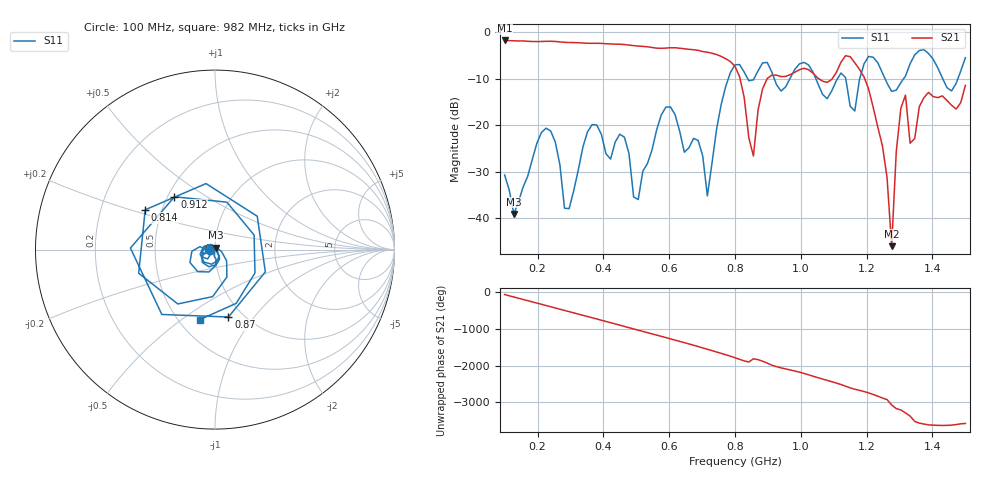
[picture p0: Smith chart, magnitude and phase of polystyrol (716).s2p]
! NanoVNA-App
! Date: 2025-09-25 15:35:27
! Start: 100MHz Stop: 1,5GHz Points: 101
! S-Parameter data: F S11 S21 S12 S22
# Hz S RI R 50
!  Frequency  S11_Real  S11_Imag  S21_Real  S21_Imag  S12_Real  S12_Imag  S22_Real  S22_Imag
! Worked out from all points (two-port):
!   101 points, 100 MHz to 1.5 GHz, reference 50 ohm
!   highest |S21| = -1.80 dB at 100 MHz (marker M1); lowest = -46.0 dB at 1.276 GHz (marker M2)
!   |S21| within 3 dB of the highest: start of sweep to 743 MHz
!   lowest |S11| = -39.1 dB at 128 MHz (marker M3), VSWR 1.02, Z = 50.3 + j1.06 ohm
!   |S11| at or under -10 dB: start of sweep to 779.8 MHz; 1.045 GHz to 1.112 GHz (66.2 MHz wide, 6.14 % of centre); 1.256 GHz to 1.313 GHz (56.79 MHz wide, 4.42 % of centre) (the widest 3 of 7)
!   S12 and S22 are empty: the file has one direction only
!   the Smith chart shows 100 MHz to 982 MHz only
!   S11 on the Smith chart (normalised r, x): 100 MHz: 0.94, -0.01; 814 MHz: 0.40, +0.22; 870 MHz: 0.86, -0.75; 912 MHz: 0.54, +0.37; 982 MHz: 0.63, -0.59
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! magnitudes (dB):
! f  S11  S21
! 100 MHz  -30.7  -1.8
! 128 MHz  -39.1  -1.9
! 212 MHz  -21.6  -2.0
! 282 MHz  -37.9  -2.2
! 338 MHz  -24.7  -2.3
! 464 MHz  -22.6  -2.7
! 506 MHz  -36.0  -3.0
! 576 MHz  -17.8  -3.5
! 716 MHz  -35.2  -4.3
! 800 MHz  -7.0  -7.3
! 814 MHz  -7.0  -9.6
! 856 MHz  -10.3  -26.6
! 870 MHz  -8.3  -16.8
! 912 MHz  -8.6  -9.2
! 982 MHz  -8.0  -8.6
! 1.038 GHz  -8.7  -8.9
! 1.164 GHz  -17.0  -6.6
! 1.192 GHz  -6.8  -9.6
! 1.276 GHz  -12.8  -46.0
! 1.318 GHz  -9.4  -13.6
! 1.332 GHz  -6.8  -23.9
! 1.5 GHz  -5.5  -11.5
